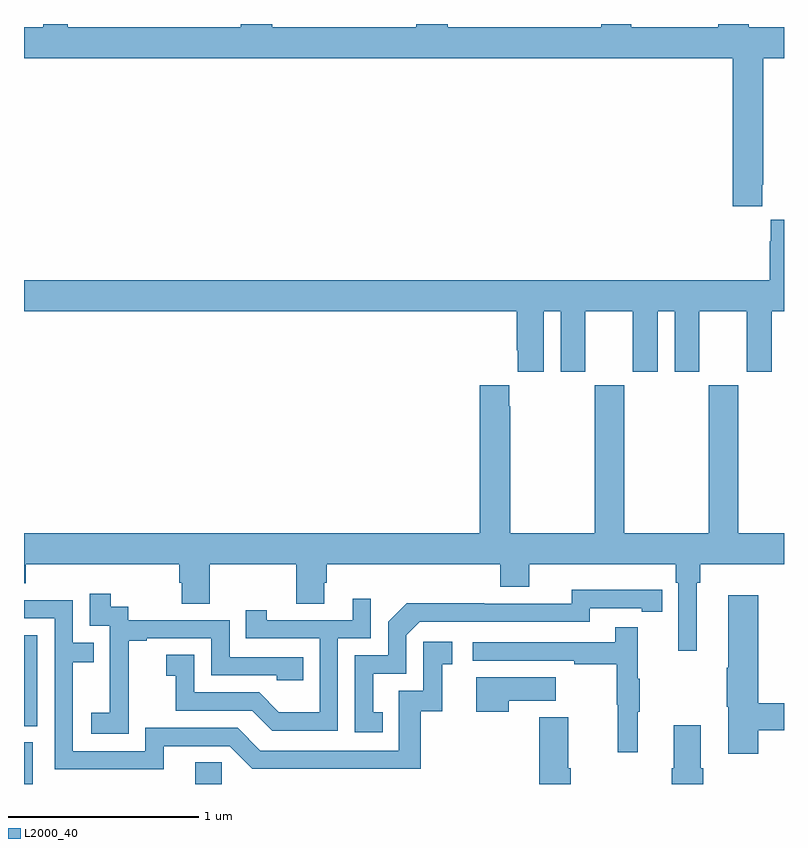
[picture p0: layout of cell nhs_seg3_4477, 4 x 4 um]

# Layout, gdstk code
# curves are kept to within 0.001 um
import gdstk
lib = gdstk.Library(unit=1e-6, precision=1e-09)
def R(c, l, rs):  # rectangles x0, y0, x1, y1
    for r in rs: c.add(gdstk.rectangle(r[:2], r[2:], *l))
def P(c, l, *ps):  # polygons
    for p in ps: c.add(gdstk.Polygon(p, *l))
L2000_40 = (2000, 40)

nhs_seg3_4477 = lib.new_cell('nhs_seg3_4477')
R(nhs_seg3_4477, L2000_40, [(349,726.4,349.045,726.62), (349.901,726.4,350.04,726.515), (349,726.705,349.071,727.182)])
P(nhs_seg3_4477, L2000_40, [(352.73,729.441),(352.885,729.441),(352.885,729.553),(352.89,729.553),(352.89,730.22),(353,730.22),(353,730.384),(352.814,730.384),(352.814,730.4),(352.654,730.4),(352.654,730.384),(352.197,730.384),(352.197,730.4),(352.037,730.4),(352.037,730.384),(351.23,730.384),(351.23,730.4),(351.065,730.4),(351.065,730.384),(350.306,730.384),(350.306,730.4),(350.141,730.4),(350.141,730.384),(349.229,730.384),(349.229,730.4),(349.1,730.4),(349.1,730.384),(349,730.384),(349,730.22),(352.73,730.22)],
  [(349,728.888),(351.593,728.888),(351.593,728.683),(351.599,728.683),(351.599,728.571),(351.736,728.571),(351.736,728.888),(351.824,728.888),(351.824,728.571),(351.955,728.571),(351.955,728.888),(352.205,728.888),(352.205,728.571),(352.336,728.571),(352.336,728.888),(352.424,728.888),(352.424,728.571),(352.555,728.571),(352.555,728.888),(352.805,728.888),(352.805,728.571),(352.936,728.571),(352.936,728.888),(353,728.888),(353,729.37),(352.931,729.37),(352.931,729.257),(352.925,729.257),(352.925,729.052),(349,729.052)],
  [(352.54,727.46),(352.559,727.46),(352.559,727.556),(353,727.556),(353,727.72),(352.758,727.72),(352.758,728.5),(352.603,728.5),(352.603,727.72),(352.158,727.72),(352.158,728.5),(352.003,728.5),(352.003,727.72),(351.558,727.72),(351.558,728.387),(351.553,728.387),(351.553,728.5),(351.398,728.5),(351.398,727.72),(349,727.72),(349,727.457),(349.01,727.457),(349.01,727.556),(349.817,727.556),(349.817,727.458),(349.829,727.458),(349.829,727.348),(349.977,727.348),(349.977,727.556),(350.434,727.556),(350.434,727.348),(350.581,727.348),(350.581,727.458),(350.594,727.458),(350.594,727.556),(351.506,727.556),(351.506,727.439),(351.658,727.439),(351.658,727.556),(352.43,727.556),(352.43,727.46),(352.443,727.46),(352.443,727.101),(352.54,727.101)],
  [(350.888,726.777),(350.839,726.777),(350.839,726.981),(351.012,726.981),(351.012,727.182),(351.084,727.254),(351.978,727.254),(351.978,727.326),(352.25,727.326),(352.25,727.306),(352.358,727.306),(352.358,727.422),(351.882,727.423),(351.882,727.35),(351.422,727.35),(351.422,727.352),(351.014,727.352),(350.916,727.254),(350.916,727.077),(350.742,727.077),(350.742,726.672),(350.888,726.672)],
  [(349.551,726.871),(349.55,726.871),(349.55,727.155),(349.645,727.155),(349.645,727.167),(349.986,727.167),(349.986,726.972),(350.331,726.972),(350.331,726.945),(350.471,726.945),(350.471,727.068),(350.082,727.068),(350.082,727.263),(349.548,727.263),(349.548,727.332),(349.456,727.332),(349.456,727.402),(349.347,727.402),(349.347,727.233),(349.452,727.233),(349.452,727.004),(349.451,727.004),(349.451,726.775),(349.353,726.775),(349.353,726.665),(349.551,726.665)],
  [(352.865,726.682),(353,726.682),(353,726.824),(352.865,726.824),(352.865,727.393),(352.706,727.393),(352.706,727.013),(352.699,727.013),(352.699,726.807),(352.706,726.807),(352.706,726.558),(352.865,726.558)],
  [(350.652,727.167),(350.826,727.167),(350.826,727.375),(350.729,727.375),(350.729,727.263),(350.278,727.263),(350.278,727.315),(350.167,727.315),(350.167,727.167),(350.556,727.167),(350.556,726.778),(350.342,726.778),(350.238,726.882),(349.896,726.882),(349.896,727.081),(349.749,727.081),(349.749,726.971),(349.798,726.971),(349.798,726.786),(350.201,726.786),(350.306,726.681),(350.652,726.681)],
  [(349.735,726.6),(350.082,726.6),(350.202,726.48),(351.089,726.48),(351.089,726.783),(351.2,726.783),(351.2,727.029),(351.253,727.029),(351.253,727.15),(351.102,727.15),(351.102,726.891),(350.973,726.891),(350.973,726.576),(350.244,726.576),(350.124,726.696),(349.638,726.696),(349.638,726.573),(349.257,726.573),(349.257,727.042),(349.367,727.042),(349.367,727.143),(349.257,727.143),(349.257,727.368),(349,727.368),(349,727.272),(349.161,727.272),(349.161,726.477),(349.735,726.477)],
  [(352.229,726.779),(352.24,726.779),(352.24,726.953),(352.229,726.953),(352.229,727.225),(352.111,727.225),(352.111,727.146),(351.363,727.146),(351.363,727.05),(351.895,727.05),(351.895,727.03),(352.119,727.03),(352.119,726.816),(352.126,726.816),(352.126,726.567),(352.229,726.567)],
  [(351.551,726.839),(351.799,726.839),(351.799,726.961),(351.38,726.961),(351.38,726.78),(351.551,726.78)],
  [(351.878,726.484),(351.865,726.484),(351.865,726.751),(351.713,726.751),(351.713,726.4),(351.878,726.4)],
  [(352.574,726.484),(352.561,726.484),(352.561,726.709),(352.421,726.709),(352.421,726.484),(352.409,726.484),(352.409,726.4),(352.574,726.4)])

lib.write_gds('nhs_seg3_4477.gds')
